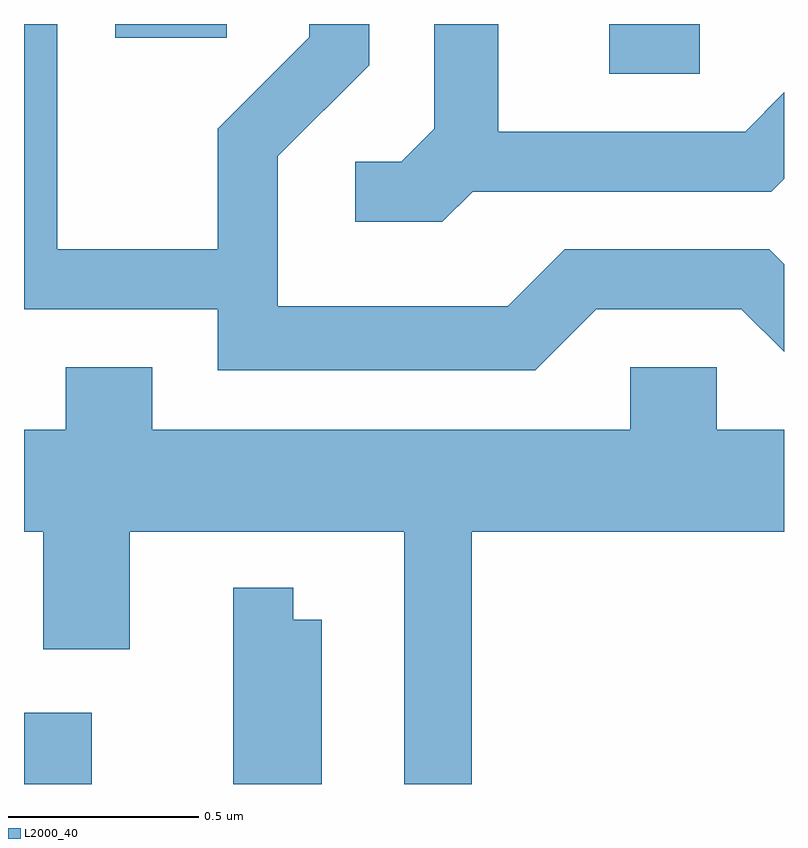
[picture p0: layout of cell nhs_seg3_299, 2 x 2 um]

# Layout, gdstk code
import gdstk
lib = gdstk.Library(unit=1e-6, precision=1e-09)
def R(c, l, rs):  # rectangles x0, y0, x1, y1
    for r in rs: c.add(gdstk.rectangle(r[:2], r[2:], *l))
def P(c, l, *ps):  # polygons
    for p in ps: c.add(gdstk.Polygon(p, *l))
L2000_40 = (2000, 40)

nhs_seg3_299 = lib.new_cell('nhs_seg3_299')
R(nhs_seg3_299, L2000_40, [(187.611,1140.892,187.789,1141.079), (189.151,1142.761,189.389,1142.892), (187.851,1142.856,188.144,1142.892)])
P(nhs_seg3_299, L2000_40, [(189.117,1142.141),(189.499,1142.141),(189.611,1142.029),(189.611,1142.26),(189.572,1142.299),(189.034,1142.299),(188.884,1142.149),(188.279,1142.149),(188.279,1142.544),(188.519,1142.784),(188.519,1142.892),(188.361,1142.892),(188.361,1142.857),(188.121,1142.617),(188.121,1142.299),(187.699,1142.299),(187.699,1142.892),(187.611,1142.892),(187.611,1142.141),(188.121,1142.141),(188.121,1141.981),(188.957,1141.981)],
  [(188.792,1142.451),(189.577,1142.451),(189.611,1142.485),(189.611,1142.712),(189.509,1142.609),(188.859,1142.609),(188.859,1142.892),(188.691,1142.892),(188.691,1142.617),(188.604,1142.529),(188.483,1142.529),(188.483,1142.371),(188.712,1142.371)],
  [(188.789,1141.556),(189.611,1141.556),(189.611,1141.824),(189.434,1141.824),(189.434,1141.989),(189.206,1141.989),(189.206,1141.824),(187.949,1141.824),(187.949,1141.989),(187.721,1141.989),(187.721,1141.824),(187.611,1141.824),(187.611,1141.556),(187.661,1141.556),(187.661,1141.246),(187.889,1141.246),(187.889,1141.556),(188.611,1141.556),(188.611,1140.892),(188.789,1140.892)],
  [(188.394,1141.324),(188.319,1141.324),(188.319,1141.408),(188.161,1141.408),(188.161,1140.892),(188.394,1140.892)])

lib.write_gds('nhs_seg3_299.gds')
